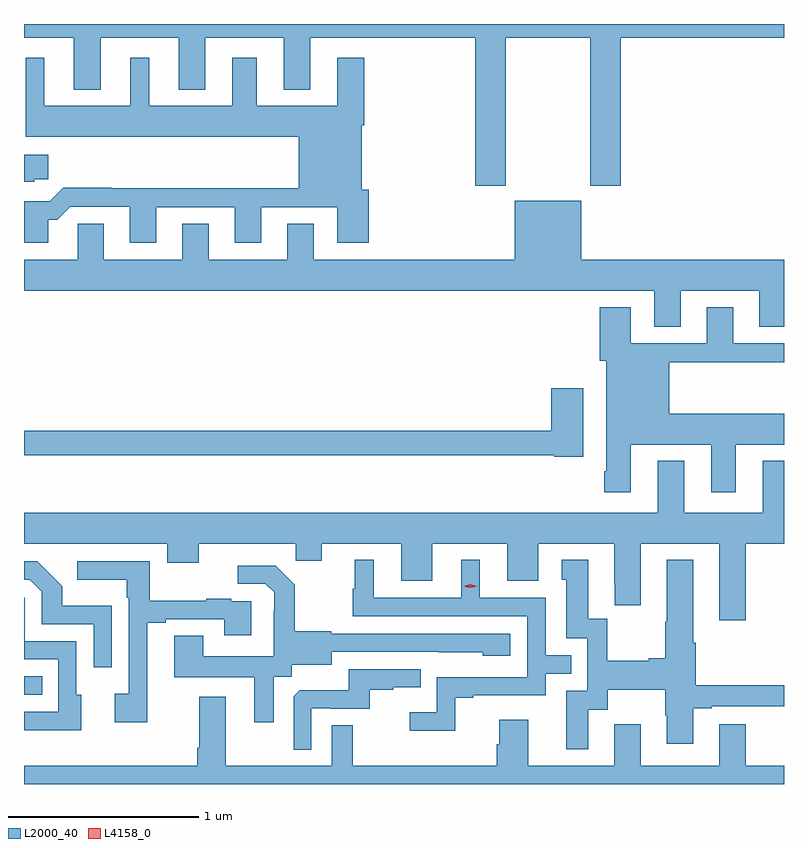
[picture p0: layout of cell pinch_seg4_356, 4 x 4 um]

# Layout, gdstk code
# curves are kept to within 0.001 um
import gdstk
lib = gdstk.Library(unit=1e-6, precision=1e-09)
def R(c, l, rs):  # rectangles x0, y0, x1, y1
    for r in rs: c.add(gdstk.rectangle(r[:2], r[2:], *l))
def P(c, l, *ps):  # polygons
    for p in ps: c.add(gdstk.Polygon(p, *l))
L2000_40 = (2000, 40)
L4158_0 = (4158, 0)

pinch_seg4_356 = lib.new_cell('pinch_seg4_356')
R(pinch_seg4_356, L2000_40, [(964.2,798.69,964.295,798.786)])
P(pinch_seg4_356, L2000_40, [(966.735,802.148),(967.18,802.148),(967.18,801.369),(967.34,801.369),(967.34,802.148),(968.2,802.148),(968.2,802.22),(964.2,802.22),(964.2,802.148),(964.463,802.148),(964.463,801.875),(964.603,801.875),(964.603,802.148),(965.015,802.148),(965.015,801.875),(965.155,801.875),(965.155,802.148),(965.567,802.148),(965.567,801.875),(965.707,801.875),(965.707,802.148),(966.575,802.148),(966.575,801.369),(966.735,801.369)],
  [(964.327,801.191),(964.376,801.191),(964.443,801.258),(964.757,801.258),(964.757,801.069),(964.897,801.069),(964.897,801.255),(965.309,801.255),(965.309,801.069),(965.449,801.069),(965.449,801.255),(965.849,801.255),(965.849,801.069),(966.014,801.069),(966.014,801.348),(965.977,801.348),(965.977,801.686),(965.99,801.686),(965.99,802.042),(965.849,802.042),(965.849,801.79),(965.425,801.79),(965.425,802.042),(965.297,802.042),(965.297,801.79),(964.858,801.79),(964.858,802.042),(964.76,802.042),(964.76,801.79),(964.306,801.79),(964.306,802.042),(964.208,802.042),(964.208,801.626),(965.645,801.626),(965.645,801.356),(964.661,801.356),(964.661,801.359),(964.406,801.359),(964.335,801.288),(964.2,801.288),(964.2,801.069),(964.327,801.069)],
  [(964.254,801.403),(964.327,801.403),(964.327,801.532),(964.2,801.532),(964.2,801.389),(964.254,801.389)],
  [(967.657,800.816),(968.069,800.816),(968.069,800.626),(968.2,800.626),(968.2,800.98),(967.132,800.98),(967.132,801.289),(966.782,801.289),(966.782,800.98),(965.725,800.98),(965.725,801.17),(965.585,801.17),(965.585,800.98),(965.173,800.98),(965.173,801.17),(965.033,801.17),(965.033,800.98),(964.621,800.98),(964.621,801.17),(964.482,801.17),(964.482,800.98),(964.2,800.98),(964.2,800.816),(967.517,800.816),(967.517,800.626),(967.657,800.626)],
  [(967.393,800.006),(967.817,800.006),(967.817,799.755),(967.945,799.755),(967.945,800.006),(968.2,800.006),(968.2,800.17),(967.597,800.17),(967.597,800.44),(968.2,800.44),(968.2,800.541),(967.933,800.541),(967.933,800.728),(967.793,800.728),(967.793,800.541),(967.393,800.541),(967.393,800.728),(967.229,800.728),(967.229,800.448),(967.265,800.448),(967.265,799.867),(967.253,799.867),(967.253,799.755),(967.393,799.755)],
  [(967.144,800.302),(966.974,800.302),(966.974,800.078),(964.2,800.078),(964.2,799.95),(966.99,799.95),(966.99,799.942),(967.144,799.942)],
  [(964.2,799.484),(964.955,799.484),(964.955,799.385),(965.119,799.385),(965.119,799.484),(965.629,799.484),(965.629,799.394),(965.767,799.394),(965.767,799.484),(966.185,799.484),(966.185,799.29),(966.349,799.29),(966.349,799.484),(966.743,799.484),(966.743,799.29),(966.907,799.29),(966.907,799.484),(967.307,799.484),(967.307,799.273),(967.31,799.273),(967.31,799.161),(967.447,799.161),(967.447,799.484),(967.859,799.484),(967.859,799.083),(967.999,799.083),(967.999,799.484),(968.2,799.484),(968.2,799.921),(968.087,799.921),(968.087,799.648),(967.675,799.648),(967.675,799.921),(967.535,799.921),(967.535,799.648),(964.2,799.648)],
  [(966.471,798.675),(966.565,798.675),(966.565,798.687),(966.945,798.687),(966.945,798.801),(967.079,798.801),(967.079,798.897),(966.945,798.897),(966.945,799.2),(966.598,799.2),(966.598,799.399),(966.5,799.399),(966.5,799.2),(966.04,799.2),(966.04,799.399),(965.942,799.399),(965.942,799.248),(965.931,799.248),(965.931,799.104),(966.849,799.104),(966.849,798.783),(966.372,798.783),(966.372,798.598),(966.231,798.598),(966.231,798.5),(966.471,798.5)],
  [(967.171,798.61),(967.273,798.61),(967.273,798.716),(967.576,798.716),(967.576,798.582),(967.583,798.582),(967.583,798.432),(967.723,798.432),(967.723,798.618),(967.819,798.618),(967.819,798.63),(968.2,798.63),(968.2,798.739),(967.736,798.739),(967.736,798.964),(967.723,798.964),(967.723,799.399),(967.583,799.399),(967.583,799.073),(967.576,799.073),(967.576,798.881),(967.487,798.881),(967.487,798.868),(967.269,798.868),(967.269,799.091),(967.171,799.091),(967.171,799.399),(967.031,799.399),(967.031,799.296),(967.055,799.296),(967.055,798.987),(967.164,798.987),(967.164,798.711),(967.055,798.711),(967.055,798.402),(967.171,798.402)],
  [(964.849,799.068),(964.945,799.068),(964.945,799.086),(965.255,799.086),(965.255,799.002),(965.395,799.002),(965.395,799.182),(965.291,799.182),(965.291,799.195),(965.159,799.195),(965.159,799.184),(964.861,799.184),(964.861,799.392),(964.479,799.392),(964.479,799.295),(964.74,799.295),(964.74,799.199),(964.752,799.199),(964.752,798.694),(964.677,798.694),(964.677,798.546),(964.849,798.546)],
  [(964.662,799.159),(964.401,799.159),(964.401,799.262),(964.27,799.392),(964.2,799.392),(964.2,799.296),(964.23,799.296),(964.293,799.233),(964.293,799.062),(964.566,799.062),(964.566,798.834),(964.662,798.834)],
  [(965.515,798.784),(965.61,798.784),(965.61,798.848),(965.821,798.848),(965.821,798.915),(966.615,798.914),(966.615,798.896),(966.76,798.896),(966.76,799.011),(965.817,799.011),(965.817,799.024),(965.625,799.024),(965.625,799.269),(965.525,799.369),(965.325,799.369),(965.325,799.275),(965.469,799.275),(965.516,799.228),(965.516,799.133),(965.514,799.133),(965.514,798.892),(965.143,798.892),(965.143,799.001),(964.991,799.001),(964.991,798.782),(965.411,798.782),(965.411,798.546),(965.515,798.546)],
  [(964.501,798.69),(964.476,798.69),(964.476,798.972),(964.203,798.972),(964.203,799.201),(964.2,799.201),(964.2,798.876),(964.38,798.876),(964.38,798.6),(964.2,798.6),(964.2,798.504),(964.283,798.504),(964.283,798.503),(964.501,798.503)],
  [(965.712,798.618),(965.812,798.618),(965.812,798.615),(966.02,798.615),(966.02,798.717),(966.143,798.717),(966.143,798.728),(966.287,798.728),(966.287,798.825),(965.91,798.825),(965.91,798.713),(965.651,798.713),(965.619,798.681),(965.619,798.401),(965.712,798.401)],
  [(968.2,798.316),(967.999,798.316),(967.999,798.535),(967.859,798.535),(967.859,798.316),(967.447,798.316),(967.447,798.535),(967.307,798.535),(967.307,798.316),(966.853,798.316),(966.853,798.559),(966.701,798.559),(966.701,798.429),(966.689,798.429),(966.689,798.316),(965.929,798.316),(965.929,798.53),(965.82,798.53),(965.82,798.316),(965.263,798.316),(965.263,798.679),(965.123,798.679),(965.123,798.412),(965.111,798.412),(965.111,798.316),(964.2,798.316),(964.2,798.22),(968.2,798.22)])
P(pinch_seg4_356, L4158_0, [(966.549,799.252),(966.513,799.261),(966.513,799.262),(966.513,799.262),(966.549,799.272),(966.585,799.262),(966.585,799.262),(966.585,799.261)])

lib.write_gds('pinch_seg4_356.gds')
